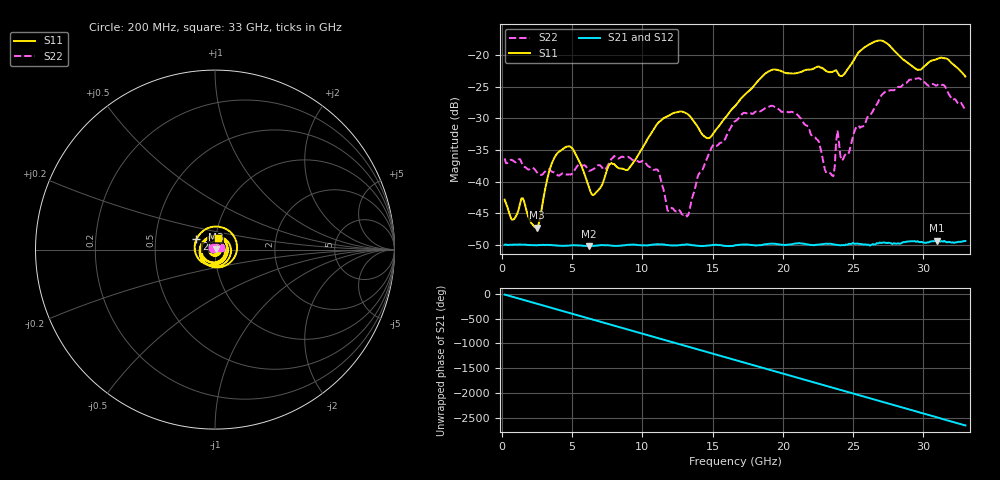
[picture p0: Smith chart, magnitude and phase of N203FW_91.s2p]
# GHZ S RI R 50
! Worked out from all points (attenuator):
!   329 points, 200 MHz to 33 GHz, reference 50 ohm
!   highest |S21| = -49.30 dB at 31 GHz (marker M1); lowest = -50.2 dB at 6.2 GHz (marker M2)
!   lowest |S11| = -47.3 dB at 2.5 GHz (marker M3), VSWR 1.01, Z = 50.4 + j0.228 ohm
!   |S11| at or under -10 dB: start of sweep to end of sweep
!   |S22| runs from -45.5 to -23.7 dB; largest |S21 - S12| = 8.8e-05
!   S11 on the Smith chart (normalised r, x): 200 MHz: 1.01, +0.01; 26 GHz: 0.81, +0.10; 33 GHz: 1.03, +0.13
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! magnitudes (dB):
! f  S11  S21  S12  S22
! 200 MHz  -42.8  -50.0  -49.9  -36.3
! 800 MHz  -46.0  -50.0  -50.0  -36.7
! 1.5 GHz  -42.6  -49.9  -49.9  -37.4
! 2.5 GHz  -47.3  -50.1  -50.0  -38.5
! 3.9 GHz  -35.7  -50.1  -50.1  -38.8
! 5.7 GHz  -37.7  -50.1  -50.1  -37.5
! 6.2 GHz  -40.9  -50.2  -50.2  -38.3
! 9 GHz  -38.1  -50.0  -50.0  -36.1
! 11.2 GHz  -30.6  -49.9  -49.9  -38.6
! 11.8 GHz  -29.7  -50.0  -50.0  -44.6
! 13.2 GHz  -29.3  -49.9  -49.9  -45.5
! 14.7 GHz  -33.1  -50.1  -50.1  -35.8
! 16.6 GHz  -28.1  -50.0  -50.1  -30.4
! 19.3 GHz  -22.3  -49.8  -49.8  -28.0
! 22.1 GHz  -22.2  -50.0  -50.0  -32.8
! 23.6 GHz  -22.6  -49.9  -49.9  -39.1
! 23.9 GHz  -22.8  -50.0  -50.0  -31.9
! 24.2 GHz  -23.3  -50.0  -50.0  -36.7
! 26 GHz  -18.5  -50.0  -49.9  -29.9
! 27.6 GHz  -18.5  -49.7  -49.7  -25.6
! 31 GHz  -20.6  -49.3  -49.3  -24.7
! 33 GHz  -23.4  -49.4  -49.4  -28.6
